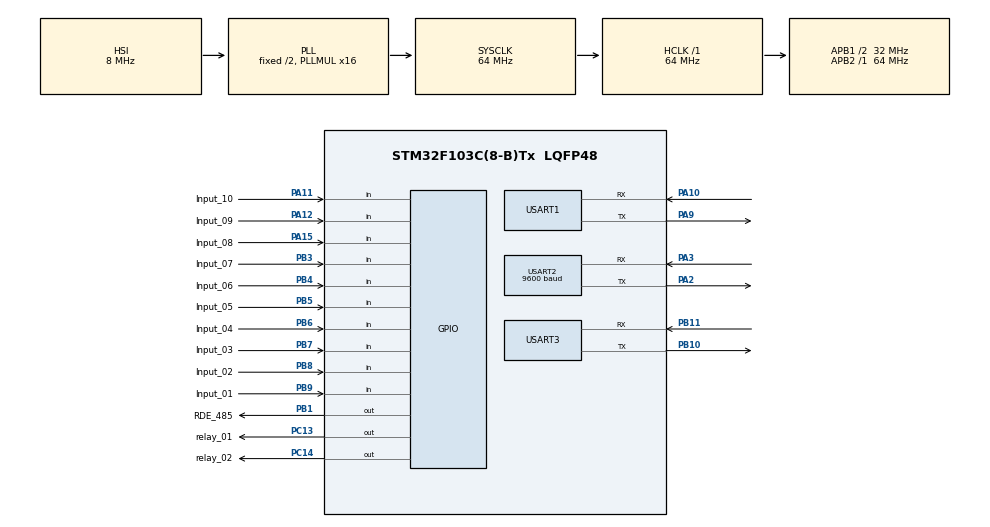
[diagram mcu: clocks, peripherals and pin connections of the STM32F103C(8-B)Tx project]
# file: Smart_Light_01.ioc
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Mcu.Family=STM32F1
Mcu.Name=STM32F103C(8-B)Tx
Mcu.Package=LQFP48
NVIC.PriorityGroup=NVIC_PRIORITYGROUP_2
NVIC.TIM3_IRQn=true\:1\:0\:true\:false\:true\:true\:true\:true
NVIC.USART1_IRQn=true\:0\:1\:false\:false\:true\:true\:true\:true
NVIC.USART2_IRQn=true\:0\:3\:false\:false\:true\:true\:true\:true
NVIC.USART3_IRQn=true\:0\:2\:false\:false\:true\:true\:true\:true
PA10.Mode=Asynchronous
PA10.Signal=USART1_RX
PA11.GPIO_Label=Input_10
PA11.GPIO_PuPd=GPIO_PULLUP
PA11.Signal=GPIO_Input
PA12.GPIO_Label=Input_09
PA12.GPIO_PuPd=GPIO_PULLUP
PA12.Signal=GPIO_Input
PA13.Mode=Serial_Wire
PA13.Signal=SYS_JTMS-SWDIO
PA14.Mode=Serial_Wire
PA14.Signal=SYS_JTCK-SWCLK
PA15.GPIO_Label=Input_08
PA15.GPIO_PuPd=GPIO_PULLUP
PA15.Signal=GPIO_Input
PA2.Mode=Asynchronous
PA2.Signal=USART2_TX
PA3.Mode=Asynchronous
PA3.Signal=USART2_RX
PA9.Mode=Asynchronous
PA9.Signal=USART1_TX
PB1.GPIO_Label=RDE_485
PB1.GPIO_Speed=GPIO_SPEED_FREQ_HIGH
PB1.Signal=GPIO_Output
PB10.Mode=Asynchronous
PB10.Signal=USART3_TX
PB11.Mode=Asynchronous
PB11.Signal=USART3_RX
PB3.GPIO_Label=Input_07
PB3.GPIO_PuPd=GPIO_PULLUP
PB3.Signal=GPIO_Input
PB4.GPIO_Label=Input_06
PB4.GPIO_PuPd=GPIO_PULLUP
PB4.Signal=GPIO_Input
PB5.GPIO_Label=Input_05
PB5.GPIO_PuPd=GPIO_PULLUP
PB5.Signal=GPIO_Input
PB6.GPIO_Label=Input_04
PB6.GPIO_PuPd=GPIO_PULLUP
PB6.Signal=GPIO_Input
PB7.GPIO_Label=Input_03
PB7.GPIO_PuPd=GPIO_PULLUP
PB7.Signal=GPIO_Input
PB8.GPIO_Label=Input_02
PB8.GPIO_PuPd=GPIO_PULLUP
PB8.Signal=GPIO_Input
PB9.GPIO_Label=Input_01
PB9.GPIO_PuPd=GPIO_PULLUP
PB9.Signal=GPIO_Input
PC13-TAMPER-RTC.GPIO_Label=relay_01
PC13-TAMPER-RTC.Signal=GPIO_Output
PC14-OSC32_IN.GPIO_Label=relay_02
PC14-OSC32_IN.GPIO_Speed=GPIO_SPEED_FREQ_HIGH
PC14-OSC32_IN.Signal=GPIO_Output
ProjectManager.HeapSize=0x200
ProjectManager.StackSize=0x400
ProjectManager.TargetToolchain=MDK-ARM V5.32
RCC.AHBFreq_Value=64000000
RCC.APB1CLKDivider=RCC_HCLK_DIV2
RCC.APB1Freq_Value=32000000
RCC.APB1TimFreq_Value=64000000
RCC.APB2Freq_Value=64000000
RCC.APB2TimFreq_Value=64000000
RCC.HCLKFreq_Value=64000000
RCC.PLLMUL=RCC_PLL_MUL16
RCC.SYSCLKFreq_VALUE=64000000
RCC.SYSCLKSource=RCC_SYSCLKSOURCE_PLLCLK
RCC.USBFreq_Value=64000000
TIM3.Period=1000-1
TIM3.Prescaler=640-1
USART1.VirtualMode=VM_ASYNC
USART2.BaudRate=9600
USART2.VirtualMode=VM_ASYNC
USART3.VirtualMode=VM_ASYNC
VP_TIM3_VS_ClockSourceINT.Mode=Internal
board=custom

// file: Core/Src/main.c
/* USER CODE BEGIN Header */
/**
  ******************************************************************************
  * @file           : main.c
  * @brief          : Main program body
  ******************************************************************************
  * @attention
  *
  * Copyright (c) 2025 STMicroelectronics.
  * All rights reserved.
  *
  * This software is licensed under terms that can be found in the LICENSE file
  * in the root directory of this software component.
  * If no LICENSE file comes with this software, it is provided AS-IS.
  *
  ******************************************************************************
  */
/* USER CODE END Header */
#include "main.h"
#include "tim.h"
#include "usart.h"
#include "gpio.h"

/* USER CODE BEGIN Includes */
#include "flash.h"
#include "function.h"
#include "input.h"
#include "output.h"
#include "time.h"
#include "stdio.h"
#include "4g.h"
#include "485_rx.h"
#include "485_tx.h"
#include "gps_rx.h"
#include "gps_tx.h"
#include "datastore.h"

/* USER CODE END Includes */

void SystemClock_Config(void);

int main(void)
{

  /* MCU Configuration--------------------------------------------------------*/

  /* Reset of all peripherals, Initializes the Flash interface and the Systick. */
  HAL_Init();

  /* Configure the system clock */
  SystemClock_Config();

  /* Initialize all configured peripherals */
  MX_GPIO_Init();
  MX_USART1_UART_Init();
  MX_USART2_UART_Init();
  MX_USART3_UART_Init();
  MX_TIM3_Init();
  /* USER CODE BEGIN 2 */
	RS485_Init();
    HAL_UART_Receive_IT(&huart1, &g_rx_byte, 1);

  /* USER CODE END 2 */

  /* Infinite loop */
  while (1)
  {

    /* USER CODE BEGIN 3 */
	  /*********************** Begin *************************/
	  LUN_XUN();

	 //模拟从机发送
//	uint8_t  i[11];
//	HAL_GPIO_WritePin(GPIOB, GPIO_PIN_1, GPIO_PIN_SET);
//
//    i[0] = FRAME_HEADER_1;
//    i[1] = FRAME_HEADER_2;
//    i[2] = 0x02;  //地址码
//    i[3] = 0x03;  //功能码
//	i[4] = 0x03;
//	i[5] = 0x01;
//    i[6] = 0x00;
//	i[7] = 0x00;
//
//    unsigned short crc = CalculateCRC16(i, 8);
//	  i[8] = (crc >> 8) & 0xFF;
//    i[9] = crc & 0xFF;
//
//    i[10] = FRAME_TAIL;
//	  HAL_UART_Transmit(&huart3, i, 11, HAL_MAX_DELAY);
 	  /*********************** End *************************/

  }
  /* USER CODE END 3 */
}

void SystemClock_Config(void)
{
  RCC_OscInitTypeDef RCC_OscInitStruct = {0};
  RCC_ClkInitTypeDef RCC_ClkInitStruct = {0};

  /** Initializes the RCC Oscillators according to the specified parameters
  * in the RCC_OscInitTypeDef structure.
  */
  RCC_OscInitStruct.OscillatorType = RCC_OSCILLATORTYPE_HSI;
  RCC_OscInitStruct.HSIState = RCC_HSI_ON;
  RCC_OscInitStruct.HSICalibrationValue = RCC_HSICALIBRATION_DEFAULT;
  RCC_OscInitStruct.PLL.PLLState = RCC_PLL_ON;
  RCC_OscInitStruct.PLL.PLLSource = RCC_PLLSOURCE_HSI_DIV2;
  RCC_OscInitStruct.PLL.PLLMUL = RCC_PLL_MUL16;
  if (HAL_RCC_OscConfig(&RCC_OscInitStruct) != HAL_OK)
  {
    Error_Handler();
  }

  /** Initializes the CPU, AHB and APB buses clocks
  */
  RCC_ClkInitStruct.ClockType = RCC_CLOCKTYPE_HCLK|RCC_CLOCKTYPE_SYSCLK
                              |RCC_CLOCKTYPE_PCLK1|RCC_CLOCKTYPE_PCLK2;
  RCC_ClkInitStruct.SYSCLKSource = RCC_SYSCLKSOURCE_PLLCLK;
  RCC_ClkInitStruct.AHBCLKDivider = RCC_SYSCLK_DIV1;
  RCC_ClkInitStruct.APB1CLKDivider = RCC_HCLK_DIV2;
  RCC_ClkInitStruct.APB2CLKDivider = RCC_HCLK_DIV1;

  if (HAL_RCC_ClockConfig(&RCC_ClkInitStruct, FLASH_LATENCY_2) != HAL_OK)
  {
    Error_Handler();
  }
}

void Error_Handler(void)
{
  __disable_irq();
  while (1)
  {
  }
}
